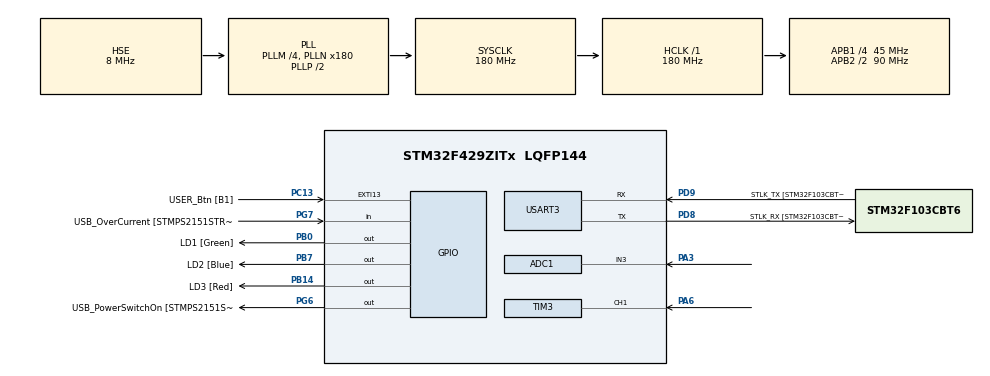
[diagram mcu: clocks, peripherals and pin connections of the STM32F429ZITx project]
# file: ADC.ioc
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ADC1.Channel-0\#ChannelRegularConversion=ADC_CHANNEL_3
ADC1.NbrOfConversionFlag=1
ADC1.Rank-0\#ChannelRegularConversion=1
ADC1.SamplingTime-0\#ChannelRegularConversion=ADC_SAMPLETIME_480CYCLES
ADC1.master=1
Dma.ADC1.2.Direction=DMA_PERIPH_TO_MEMORY
Dma.ADC1.2.FIFOMode=DMA_FIFOMODE_DISABLE
Dma.ADC1.2.Instance=DMA2_Stream0
Dma.ADC1.2.MemDataAlignment=DMA_MDATAALIGN_HALFWORD
Dma.ADC1.2.MemInc=DMA_MINC_ENABLE
Dma.ADC1.2.Mode=DMA_CIRCULAR
Dma.ADC1.2.PeriphDataAlignment=DMA_PDATAALIGN_HALFWORD
Dma.ADC1.2.PeriphInc=DMA_PINC_DISABLE
Dma.ADC1.2.Priority=DMA_PRIORITY_LOW
Dma.Request0=TIM3_CH1/TRIG
Dma.Request1=TIM3_CH4/UP
Dma.Request2=ADC1
Dma.TIM3_CH1/TRIG.0.Direction=DMA_PERIPH_TO_MEMORY
Dma.TIM3_CH1/TRIG.0.FIFOMode=DMA_FIFOMODE_DISABLE
Dma.TIM3_CH1/TRIG.0.Instance=DMA1_Stream4
Dma.TIM3_CH1/TRIG.0.MemDataAlignment=DMA_MDATAALIGN_HALFWORD
Dma.TIM3_CH1/TRIG.0.MemInc=DMA_MINC_ENABLE
Dma.TIM3_CH1/TRIG.0.Mode=DMA_CIRCULAR
Dma.TIM3_CH1/TRIG.0.PeriphDataAlignment=DMA_PDATAALIGN_HALFWORD
Dma.TIM3_CH1/TRIG.0.PeriphInc=DMA_PINC_DISABLE
Dma.TIM3_CH1/TRIG.0.Priority=DMA_PRIORITY_LOW
Dma.TIM3_CH4/UP.1.Direction=DMA_PERIPH_TO_MEMORY
Dma.TIM3_CH4/UP.1.FIFOMode=DMA_FIFOMODE_DISABLE
Dma.TIM3_CH4/UP.1.Instance=DMA1_Stream2
Dma.TIM3_CH4/UP.1.MemDataAlignment=DMA_MDATAALIGN_HALFWORD
Dma.TIM3_CH4/UP.1.MemInc=DMA_MINC_ENABLE
Dma.TIM3_CH4/UP.1.Mode=DMA_CIRCULAR
Dma.TIM3_CH4/UP.1.PeriphDataAlignment=DMA_PDATAALIGN_HALFWORD
Dma.TIM3_CH4/UP.1.PeriphInc=DMA_PINC_DISABLE
Dma.TIM3_CH4/UP.1.Priority=DMA_PRIORITY_LOW
Mcu.Family=STM32F4
Mcu.Name=STM32F429ZITx
Mcu.Package=LQFP144
NVIC.ADC_IRQn=true\:0\:0\:false\:false\:true\:true\:true\:true
NVIC.DMA1_Stream2_IRQn=true\:0\:0\:false\:false\:true\:false\:true\:true
NVIC.DMA1_Stream4_IRQn=true\:0\:0\:false\:false\:true\:false\:true\:true
NVIC.DMA2_Stream0_IRQn=true\:0\:0\:false\:false\:true\:false\:true\:true
NVIC.PriorityGroup=NVIC_PRIORITYGROUP_4
NVIC.TIM3_IRQn=true\:0\:0\:false\:false\:true\:true\:true\:true
NVIC.USART3_IRQn=true\:0\:0\:false\:false\:true\:true\:true\:true
PA1.GPIO_Label=RMII_REF_CLK [LAN8742A-CZ-TR_REFCLK0]
PA1.Signal=ETH_REF_CLK
PA10.GPIO_Label=USB_ID
PA10.Signal=USB_OTG_FS_ID
PA11.GPIO_Label=USB_DM
PA11.Signal=USB_OTG_FS_DM
PA12.GPIO_Label=USB_DP
PA12.Signal=USB_OTG_FS_DP
PA13.GPIO_Label=TMS
PA13.Signal=SYS_JTMS-SWDIO
PA14.GPIO_Label=TCK
PA14.Signal=SYS_JTCK-SWCLK
PA2.GPIO_Label=RMII_MDIO [LAN8742A-CZ-TR_MDIO]
PA2.Signal=ETH_MDIO
PA3.Signal=ADCx_IN3
PA6.Signal=S_TIM3_CH1
PA7.GPIO_Label=RMII_CRS_DV [LAN8742A-CZ-TR_CRS_DV]
PA7.Signal=ETH_CRS_DV
PA8.GPIO_Label=USB_SOF [TP1]
PA8.Signal=USB_OTG_FS_SOF
PA9.GPIO_Label=USB_VBUS
PA9.Signal=USB_OTG_FS_VBUS
PB0.GPIO_Label=LD1 [Green]
PB0.Signal=GPIO_Output
PB13.GPIO_Label=RMII_TXD1 [LAN8742A-CZ-TR_TXD1]
PB13.Signal=ETH_TXD1
PB14.GPIO_Label=LD3 [Red]
PB14.Signal=GPIO_Output
PB7.GPIO_Label=LD2 [Blue]
PB7.Signal=GPIO_Output
PC1.GPIO_Label=RMII_MDC [LAN8742A-CZ-TR_MDC]
PC1.Signal=ETH_MDC
PC13.GPIO_Label=USER_Btn [B1]
PC13.Signal=GPXTI13
PC14/OSC32_IN.Mode=LSE-External-Oscillator
PC14/OSC32_IN.Signal=RCC_OSC32_IN
PC15/OSC32_OUT.Mode=LSE-External-Oscillator
PC15/OSC32_OUT.Signal=RCC_OSC32_OUT
PC4.GPIO_Label=RMII_RXD0 [LAN8742A-CZ-TR_RXD0]
PC4.Signal=ETH_RXD0
PC5.GPIO_Label=RMII_RXD1 [LAN8742A-CZ-TR_RXD1]
PC5.Signal=ETH_RXD1
PD8.GPIO_Label=STLK_RX [STM32F103CBT6_PA3]
PD8.Mode=Asynchronous
PD8.Signal=USART3_TX
PD9.GPIO_Label=STLK_TX [STM32F103CBT6_PA2]
PD9.Mode=Asynchronous
PD9.Signal=USART3_RX
PG11.GPIO_Label=RMII_TX_EN [LAN8742A-CZ-TR_TXEN]
PG11.Signal=ETH_TX_EN
PG13.GPIO_Label=RMII_TXD0 [LAN8742A-CZ-TR_TXD0]
PG13.Signal=ETH_TXD0
PG6.GPIO_Label=USB_PowerSwitchOn [STMPS2151STR_EN]
PG6.Signal=GPIO_Output
PG7.GPIO_Label=USB_OverCurrent [STMPS2151STR_FAULT]
PG7.Signal=GPIO_Input
PH0/OSC_IN.GPIO_Label=MCO [STM32F103CBT6_PA8]
PH0/OSC_IN.Mode=HSE-External-Clock-Source
PH0/OSC_IN.Signal=RCC_OSC_IN
PH1/OSC_OUT.Mode=HSE-External-Clock-Source
PH1/OSC_OUT.Signal=RCC_OSC_OUT
ProjectManager.HeapSize=0x200
ProjectManager.StackSize=0x400
ProjectManager.TargetToolchain=STM32CubeIDE
RCC.48MHZClocksFreq_Value=90000000
RCC.AHBFreq_Value=180000000
RCC.APB1CLKDivider=RCC_HCLK_DIV4
RCC.APB1Freq_Value=45000000
RCC.APB1TimFreq_Value=90000000
RCC.APB2CLKDivider=RCC_HCLK_DIV2
RCC.APB2Freq_Value=90000000
RCC.APB2TimFreq_Value=180000000
RCC.CortexFreq_Value=180000000
RCC.HCLKFreq_Value=180000000
RCC.HSE_VALUE=8000000
RCC.HSI_VALUE=16000000
RCC.PLLM=4
RCC.PLLMUL=RCC_PLL_MUL9
RCC.PLLN=180
RCC.PLLSourceVirtual=RCC_PLLSOURCE_HSE
RCC.PRESCALERUSB=RCC_USBCLKSOURCE_PLL_DIV1_5
RCC.SYSCLKFreq_VALUE=180000000
RCC.SYSCLKSource=RCC_SYSCLKSOURCE_PLLCLK
RCC.SYSCLKSourceVirtual=RCC_SYSCLKSOURCE_PLLCLK
RCC.USBFreq_Value=48000000
RCC.VCOOutputFreq_Value=360000000
SH.ADCx_IN3.0=ADC1_IN3,IN3
SH.S_TIM3_CH1.0=TIM3_CH1,Input_Capture1_from_TI1
TIM3.Channel-Input_Capture1_from_TI1=TIM_CHANNEL_1
USART3.VirtualMode=VM_ASYNC
VP_TIM3_VS_ClockSourceINT.Mode=Internal
board=NUCLEO-F429ZI

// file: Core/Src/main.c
/* USER CODE BEGIN Header */
/**
  ******************************************************************************
  * @file           : main.c
  * @brief          : Main program body
  ******************************************************************************
  * @attention
  *
  * Copyright (c) 2022 STMicroelectronics.
  * All rights reserved.
  *
  * This software is licensed under terms that can be found in the LICENSE file
  * in the root directory of this software component.
  * If no LICENSE file comes with this software, it is provided AS-IS.
  *
  ******************************************************************************
  */
/* USER CODE END Header */
#include "main.h"
#include "adc.h"
#include "dma.h"
#include "tim.h"
#include "usart.h"
#include "gpio.h"

/* USER CODE BEGIN Includes */
#include "stdio.h"
/* USER CODE END Includes */

/* USER CODE BEGIN PV */
uint16_t value;
uint16_t vout;
float temp;
uint8_t gauge;
char buffer[256];
uint16_t resolution = 128;
/* USER CODE END PV */

void SystemClock_Config(void);
/* USER CODE BEGIN PFP */
int _write(int file, char* p, int len);
/* USER CODE END PFP */

int main(void)
{

  /* MCU Configuration--------------------------------------------------------*/

  /* Reset of all peripherals, Initializes the Flash interface and the Systick. */
  HAL_Init();

  /* Configure the system clock */
  SystemClock_Config();

  /* Initialize all configured peripherals */
  MX_GPIO_Init();
  MX_DMA_Init();
  MX_TIM3_Init();
  MX_USART3_UART_Init();
  MX_ADC1_Init();

  /* Infinite loop */
  /* USER CODE BEGIN WHILE */
  while (1)
  {
	  HAL_ADC_Start(&hadc1);
	  HAL_ADC_PollForConversion(&hadc1, HAL_MAX_DELAY);
	  value = HAL_ADC_GetValue(&hadc1);
	  gauge = (uint8_t)((value + 1) / resolution);
	  printf("\r\n");
	  for(int i=0; i< gauge; i++)
	  {
		  printf(" ");
	  }
	  printf("?��\r\n");

//	  printf("value : %d\r\n", value);
	  HAL_ADC_Stop(&hadc1);

	  vout = 3300 * value / 4096;	// 12 bits
	  temp = (float) vout / 1000.0;	// 3.3V
//	  printf("temp : %.2lf\r\n", temp);

	  HAL_Delay(100);
    /* USER CODE END WHILE */

  }
}

void SystemClock_Config(void)
{
  RCC_OscInitTypeDef RCC_OscInitStruct = {0};
  RCC_ClkInitTypeDef RCC_ClkInitStruct = {0};

  /** Configure the main internal regulator output voltage
  */
  __HAL_RCC_PWR_CLK_ENABLE();
  __HAL_PWR_VOLTAGESCALING_CONFIG(PWR_REGULATOR_VOLTAGE_SCALE1);

  /** Initializes the RCC Oscillators according to the specified parameters
  * in the RCC_OscInitTypeDef structure.
  */
  RCC_OscInitStruct.OscillatorType = RCC_OSCILLATORTYPE_HSE;
  RCC_OscInitStruct.HSEState = RCC_HSE_BYPASS;
  RCC_OscInitStruct.PLL.PLLState = RCC_PLL_ON;
  RCC_OscInitStruct.PLL.PLLSource = RCC_PLLSOURCE_HSE;
  RCC_OscInitStruct.PLL.PLLM = 4;
  RCC_OscInitStruct.PLL.PLLN = 180;
  RCC_OscInitStruct.PLL.PLLP = RCC_PLLP_DIV2;
  RCC_OscInitStruct.PLL.PLLQ = 4;
  if (HAL_RCC_OscConfig(&RCC_OscInitStruct) != HAL_OK)
  {
    Error_Handler();
  }

  /** Activate the Over-Drive mode
  */
  if (HAL_PWREx_EnableOverDrive() != HAL_OK)
  {
    Error_Handler();
  }

  /** Initializes the CPU, AHB and APB buses clocks
  */
  RCC_ClkInitStruct.ClockType = RCC_CLOCKTYPE_HCLK|RCC_CLOCKTYPE_SYSCLK
                              |RCC_CLOCKTYPE_PCLK1|RCC_CLOCKTYPE_PCLK2;
  RCC_ClkInitStruct.SYSCLKSource = RCC_SYSCLKSOURCE_PLLCLK;
  RCC_ClkInitStruct.AHBCLKDivider = RCC_SYSCLK_DIV1;
  RCC_ClkInitStruct.APB1CLKDivider = RCC_HCLK_DIV4;
  RCC_ClkInitStruct.APB2CLKDivider = RCC_HCLK_DIV2;

  if (HAL_RCC_ClockConfig(&RCC_ClkInitStruct, FLASH_LATENCY_5) != HAL_OK)
  {
    Error_Handler();
  }
}

/* USER CODE BEGIN 4 */
int _write(int file, char* p, int len)
{
	if(HAL_UART_Transmit(&huart3, (uint8_t *)p, len, 10) == HAL_OK) return len;
	else return -1;
}
/* USER CODE END 4 */

void Error_Handler(void)
{
  __disable_irq();
  while (1)
  {
  }
}
